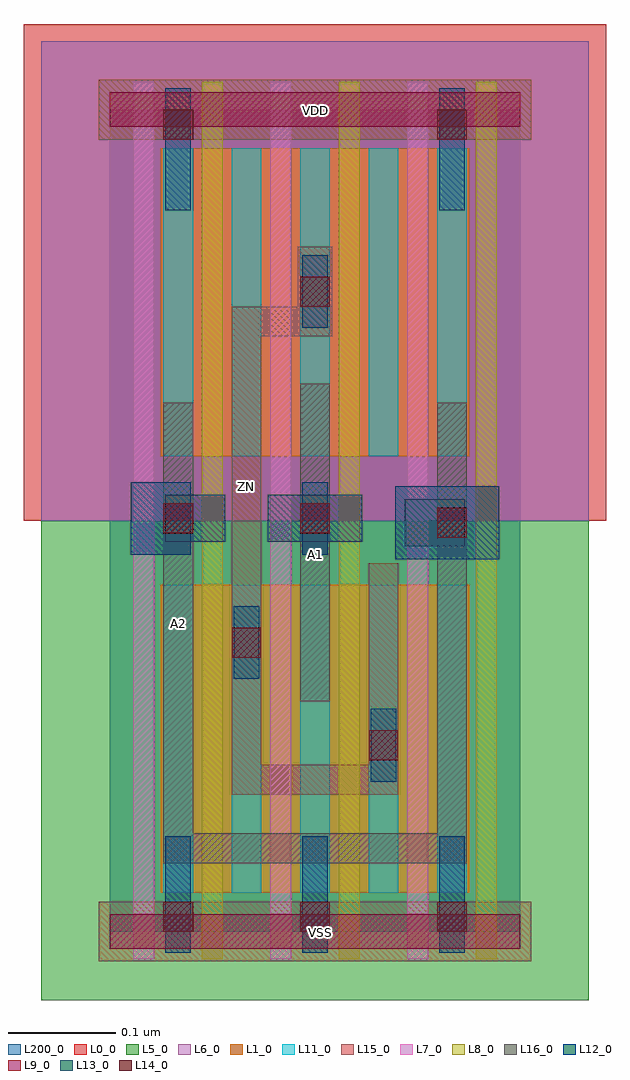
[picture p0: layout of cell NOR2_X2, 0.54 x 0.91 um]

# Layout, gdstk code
import gdstk
lib = gdstk.Library(unit=1e-6, precision=1e-09)
def R(c, l, rs):  # rectangles x0, y0, x1, y1
    for r in rs: c.add(gdstk.rectangle(r[:2], r[2:], *l))
def A(c, l, x, y, w, h, nx, ny, dx, dy):  # array of equal rectangles
    R(c, l, [(x+i*dx, y+j*dy, x+i*dx+w, y+j*dy+h) for i in range(nx) for j in range(ny)])
def P(c, l, *ps):  # polygons
    for p in ps: c.add(gdstk.Polygon(p, *l))
L0_0 = (0, 0)
L1_0 = (1, 0)
L5_0 = (5, 0)
L6_0 = (6, 0)
L7_0 = (7, 0)
L8_0 = (8, 0)
L9_0 = (9, 0)
L11_0 = (11, 0)
L12_0 = (12, 0)
L13_0 = (13, 0)
L14_0 = (14, 0)
L15_0 = (15, 0)
L16_0 = (16, 0)
L200_0 = (200, 0)

nor2_x2 = lib.new_cell('NOR2_X2')
R(nor2_x2, L0_0, [(-0.08,0.384,0.464,0.848)])
R(nor2_x2, L1_0, [(0.048,0.036,0.336,0.324), (0.048,0.444,0.336,0.732)])
R(nor2_x2, L5_0, [(-0.064,-0.064,0.448,0.384)])
R(nor2_x2, L6_0, [(-0.064,0.384,0.448,0.832)])
A(nor2_x2, L7_0, 0.022, -0.026, 0.02, 0.82, 3, 1, 0.128, 0)
A(nor2_x2, L8_0, 0.086, -0.026, 0.02, 0.82, 3, 1, 0.128, 0)
R(nor2_x2, L9_0, [(0,-0.016,0.384,0.016), (0,0.752,0.384,0.784)])
A(nor2_x2, L11_0, 0.05, 0.036, 0.028, 0.288, 5, 2, 0.064, 0.408)
A(nor2_x2, L12_0, 0.052, -0.02, 0.024, 0.109, 3, 1, 0.128, 0)
R(nor2_x2, L12_0, [(0.244,0.14,0.268,0.208), (0.116,0.236,0.14,0.304), (0.267,0.348,0.364,0.416), (0.02,0.352,0.076,0.42), (0.18,0.352,0.204,0.42), (0.18,0.564,0.204,0.632), (0.052,0.674,0.076,0.788), (0.308,0.674,0.332,0.788)])
R(nor2_x2, L13_0, [(0.276,0.36,0.332,0.404), (0.052,0.364,0.108,0.408), (0.148,0.364,0.236,0.408)])
A(nor2_x2, L14_0, 0.05, 0, 0.028, 0.028, 3, 1, 0.128, 0)
R(nor2_x2, L14_0, [(0.242,0.16,0.27,0.188), (0.114,0.256,0.142,0.284), (0.306,0.368,0.334,0.396), (0.05,0.372,0.078,0.4), (0.178,0.372,0.206,0.4), (0.178,0.584,0.206,0.612), (0.05,0.74,0.078,0.768), (0.306,0.74,0.334,0.768)])
R(nor2_x2, L15_0, [(-0.01,-0.028,0.394,0.028), (-0.01,0.74,0.394,0.796)])
P(nor2_x2, L15_0, [(0.114,0.128),(0.27,0.128),(0.27,0.344),(0.242,0.344),(0.242,0.156),(0.142,0.156),(0.142,0.556),(0.208,0.556),(0.208,0.64),(0.176,0.64),(0.176,0.584),(0.114,0.584)])
R(nor2_x2, L16_0, [(0.178,0.215,0.206,0.512)])
P(nor2_x2, L16_0, [(0.05,0.064),(0.334,0.064),(0.334,0.494),(0.306,0.494),(0.306,0.092),(0.078,0.092),(0.078,0.494),(0.05,0.494)])
R(nor2_x2, L200_0, [(0,0,0.384,0.768)])
nor2_x2.add(gdstk.Label('VSS', (0.197,-0.001), layer=15, texttype=20))
nor2_x2.add(gdstk.Label('ZN', (0.128,0.416), layer=15, texttype=20))
nor2_x2.add(gdstk.Label('VDD', (0.192,0.767), layer=15, texttype=20))
nor2_x2.add(gdstk.Label('A2', (0.064,0.288), layer=16, texttype=20))
nor2_x2.add(gdstk.Label('A1', (0.192,0.352), layer=16, texttype=20))

lib.write_gds('NOR2_X2.gds')
